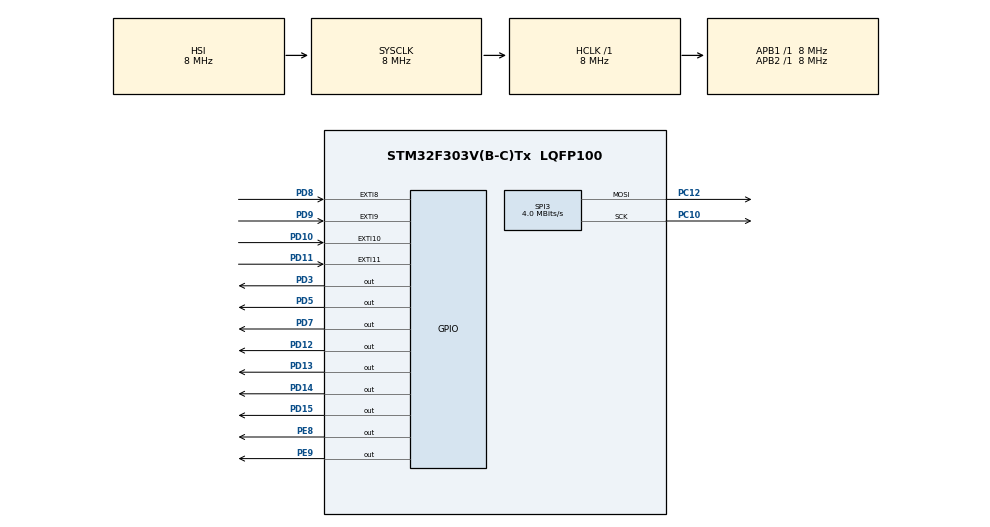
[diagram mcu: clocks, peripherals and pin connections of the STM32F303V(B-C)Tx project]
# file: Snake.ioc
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Mcu.Family=STM32F3
Mcu.Name=STM32F303V(B-C)Tx
Mcu.Package=LQFP100
NVIC.EXTI15_10_IRQn=true\:1\:0\:true\:false\:true\:true\:true
NVIC.EXTI9_5_IRQn=true\:1\:0\:true\:false\:true\:true\:true
NVIC.PriorityGroup=NVIC_PRIORITYGROUP_4
NVIC.TIM1_UP_TIM16_IRQn=true\:0\:0\:true\:false\:true\:true\:true
PC10.Mode=TX_Only_Simplex_Unidirect_Master
PC10.Signal=SPI3_SCK
PC12.Mode=TX_Only_Simplex_Unidirect_Master
PC12.Signal=SPI3_MOSI
PD10.GPIO_PuPd=GPIO_PULLDOWN
PD10.Signal=GPXTI10
PD11.GPIO_PuPd=GPIO_PULLDOWN
PD11.Signal=GPXTI11
PD12.PinState=GPIO_PIN_SET
PD12.Signal=GPIO_Output
PD13.PinState=GPIO_PIN_SET
PD13.Signal=GPIO_Output
PD14.PinState=GPIO_PIN_SET
PD14.Signal=GPIO_Output
PD15.PinState=GPIO_PIN_SET
PD15.Signal=GPIO_Output
PD3.Signal=GPIO_Output
PD5.Signal=GPIO_Output
PD7.Signal=GPIO_Output
PD8.GPIO_PuPd=GPIO_PULLDOWN
PD8.Signal=GPXTI8
PD9.GPIO_PuPd=GPIO_PULLDOWN
PD9.Signal=GPXTI9
PE8.Signal=GPIO_Output
PE9.Signal=GPIO_Output
ProjectManager.HeapSize=0x200
ProjectManager.StackSize=0x400
ProjectManager.TargetToolchain=STM32CubeIDE
RCC.AHBFreq_Value=8000000
RCC.APB1Freq_Value=8000000
RCC.APB2Freq_Value=8000000
RCC.CortexFreq_Value=8000000
RCC.HSE_VALUE=8000000
RCC.HSI_VALUE=8000000
RCC.LSE_VALUE=32768
RCC.SYSCLKFreq_VALUE=8000000
SPI3.CalculateBaudRate=4.0 MBits/s
SPI3.DataSize=SPI_DATASIZE_8BIT
SPI3.Direction=SPI_DIRECTION_2LINES
SPI3.Mode=SPI_MODE_MASTER
SPI3.VirtualType=VM_MASTER
TIM1.Period=11999
TIM1.Prescaler=999
VP_TIM1_VS_ClockSourceINT.Mode=Internal
board=custom

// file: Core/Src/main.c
/* USER CODE BEGIN Header */
/**
 * Snake game by Alireza Tabatabaee, 2022. https://github.com/alireza-tabatabaee
  ******************************************************************************
  * @file           : main.c
  * @brief          : Main program body
  ******************************************************************************
  * @attention
  *
  * <h2><center>&copy; Copyright (c) 2022 STMicroelectronics.
  * All rights reserved.</center></h2>
  *
  * This software component is licensed by ST under BSD 3-Clause license,
  * the "License"; You may not use this file except in compliance with the
  * License. You may obtain a copy of the License at:
  *                        opensource.org/licenses/BSD-3-Clause
  *
  ******************************************************************************
  */
/* USER CODE END Header */
#include "main.h"

/* USER CODE BEGIN Includes */
#include "stm32f4_pcd8544.h"
/* USER CODE END Includes */

/* USER CODE BEGIN PD */
#define	UP		1
#define LEFT	2
#define RIGHT	3
#define DOWN	4
#define FOOD	5
/* USER CODE END PD */

SPI_HandleTypeDef hspi3;

TIM_HandleTypeDef htim1;

/* USER CODE BEGIN PV */
uint8_t grid[21][12];	// game grid
int8_t hx, hy;			// x and y of head
uint8_t tx, ty;			// x and y of tail
int8_t dx, dy;			// direction of snake's movement
/* USER CODE END PV */

void SystemClock_Config(void);
static void MX_GPIO_Init(void);
static void MX_SPI3_Init(void);
static void MX_TIM1_Init(void);

/* USER CODE BEGIN 0 */
uint16_t lfsr;
uint16_t lfsrrand()
{
	lfsr ^= lfsr>>7;
	lfsr ^= lfsr<<9;
	lfsr ^= lfsr>>13;
	return lfsr;
}
_Bool foodflag = 0;
void newGameStart(void)
{
	// clean out the game grid
	for(int i=0; i<21; i++)
	{
		for(int j=0; j<12; j++)
			grid[i][j] = 0;
	}
	// putting the snake with length 3 between (4,6) and (6,6)
	grid[4][6] = RIGHT;
	grid[5][6] = RIGHT;
	grid[6][6] = RIGHT;
	// (6,6) is the initial position for snake's head
	hx = 6;
	hy = 6;
	// (4,6) is the initial position for snake's tail
	tx = 4;
	ty = 6;
	// initial moving direction of snake is towards right
	dx = 1;
	dy = 0;
	// giving the LFSR pseudo-random number generator a seed from the timer
	lfsr = TIM1->CNT;
	//
	foodflag = 0;
}

uint8_t checkSnakeCrash(void)
{
	return ((hx+dx)==-1||(hx+dx)==21||(hy+dy)==12||((hy+dy)==-1))||(grid[hx+dx][hy+dy] > 0 && grid[hx+dx][hy+dy]<5);
}

void updateLCD(void)
{
	for(int i=0; i<21; i++)
	{
		for(int j=0; j<12; j++)
		{
			if (grid[i][j] == 0)
			{
				for(int k=0; k<4; k++)
				{
					for(int l=0; l<4; l++)
						PCD8544_DrawPixel(4*i+k, 4*j+l, 0);
				}
			}
			else if(grid[i][j] >0 && grid[i][j]<5)
			{
				for(int k=0; k<4; k++)
				{
					for(int l=0; l<4; l++)
						PCD8544_DrawPixel(4*i+k, 4*j+l, 1);
				}
			}
			else if(grid[i][j] == 5)
			{
				PCD8544_DrawPixel(4*i+1, 4*j, 1);
				PCD8544_DrawPixel(4*i+2, 4*j, 1);
				PCD8544_DrawPixel(4*i+1, 4*j+3, 1);
				PCD8544_DrawPixel(4*i+2, 4*j+3, 1);
				PCD8544_DrawPixel(4*i, 4*j+1, 1);
				PCD8544_DrawPixel(4*i, 4*j+2, 1);
				PCD8544_DrawPixel(4*i+3, 4*j+1, 1);
				PCD8544_DrawPixel(4*i+3, 4*j+2, 1);
			}
		}
	}
	// drawing borders on LCD to make it clearer
	PCD8544_DrawLine(0, 0, 0, 47, PCD8544_Pixel_Set);
	PCD8544_DrawLine(83, 0, 83, 47, PCD8544_Pixel_Set);
	PCD8544_DrawLine(0, 0, 83, 0, PCD8544_Pixel_Set);
	PCD8544_DrawLine(0, 47, 83, 47, PCD8544_Pixel_Set);

	PCD8544_Refresh();
}

void loseDialog()
{
	PCD8544_GotoXY(20, 20);
	PCD8544_Puts("You Lose!", PCD8544_Pixel_Set, PCD8544_FontSize_5x7);
	PCD8544_Refresh();
	HAL_TIM_Base_Stop_IT(&htim1);
}

char keyPressed = 0;
void HAL_GPIO_EXTI_Callback(uint16_t GPIO_Pin)
{
	if(GPIO_Pin==GPIO_PIN_8) //A,B,C,D
	{
		HAL_GPIO_WritePin(GPIOD, GPIO_PIN_12, 1);
		HAL_GPIO_WritePin(GPIOD, GPIO_PIN_13, 0);
		HAL_GPIO_WritePin(GPIOD, GPIO_PIN_14, 0);
		HAL_GPIO_WritePin(GPIOD, GPIO_PIN_15, 0);
		if(HAL_GPIO_ReadPin(GPIOD, GPIO_Pin)==1){
			GPIOD->ODR |= (0xF << 12);
			keyPressed = 'D';
			HAL_Delay(100);
			return;
		}
		//
		HAL_GPIO_WritePin(GPIOD, GPIO_PIN_12, 0);
		HAL_GPIO_WritePin(GPIOD, GPIO_PIN_13, 1);
		HAL_GPIO_WritePin(GPIOD, GPIO_PIN_14, 0);
		HAL_GPIO_WritePin(GPIOD, GPIO_PIN_15, 0);
		if(HAL_GPIO_ReadPin(GPIOD, GPIO_Pin)==1){
			GPIOD->ODR |= (0xF << 12);
			keyPressed = 'C';
			HAL_Delay(100);
			return;
		}
		//
		HAL_GPIO_WritePin(GPIOD, GPIO_PIN_12, 0);
		HAL_GPIO_WritePin(GPIOD, GPIO_PIN_13, 0);
		HAL_GPIO_WritePin(GPIOD, GPIO_PIN_14, 1);
		HAL_GPIO_WritePin(GPIOD, GPIO_PIN_15, 0);
		if(HAL_GPIO_ReadPin(GPIOD, GPIO_Pin)==1){
			GPIOD->ODR |= (0xF << 12);
			keyPressed = 'B';
			HAL_Delay(100);
			return;
		}
		//
		HAL_GPIO_WritePin(GPIOD, GPIO_PIN_12, 0);
		HAL_GPIO_WritePin(GPIOD, GPIO_PIN_13, 0);
		HAL_GPIO_WritePin(GPIOD, GPIO_PIN_14, 0);
		HAL_GPIO_WritePin(GPIOD, GPIO_PIN_15, 1);
		if(HAL_GPIO_ReadPin(GPIOD, GPIO_Pin)==1){
			GPIOD->ODR |= (0xF << 12);
			keyPressed = 'A';
			HAL_Delay(100);
			return;
		}
	}
	else if(GPIO_Pin==GPIO_PIN_9) //3,6,9,#
	{
		HAL_GPIO_WritePin(GPIOD, GPIO_PIN_12, 1);
		HAL_GPIO_WritePin(GPIOD, GPIO_PIN_13, 0);
		HAL_GPIO_WritePin(GPIOD, GPIO_PIN_14, 0);
		HAL_GPIO_WritePin(GPIOD, GPIO_PIN_15, 0);
		if(HAL_GPIO_ReadPin(GPIOD, GPIO_Pin)==1){
			GPIOD->ODR |= (0xF << 12);
			keyPressed = '#';
			HAL_Delay(100);
			return;
		}
		//
		HAL_GPIO_WritePin(GPIOD, GPIO_PIN_12, 0);
		HAL_GPIO_WritePin(GPIOD, GPIO_PIN_13, 1);
		HAL_GPIO_WritePin(GPIOD, GPIO_PIN_14, 0);
		HAL_GPIO_WritePin(GPIOD, GPIO_PIN_15, 0);
		if(HAL_GPIO_ReadPin(GPIOD, GPIO_Pin)==1){
			GPIOD->ODR |= (0xF << 12);
			keyPressed = '9';
			HAL_Delay(100);
			return;
		}
		//
		HAL_GPIO_WritePin(GPIOD, GPIO_PIN_12, 0);
		HAL_GPIO_WritePin(GPIOD, GPIO_PIN_13, 0);
		HAL_GPIO_WritePin(GPIOD, GPIO_PIN_14, 1);
		HAL_GPIO_WritePin(GPIOD, GPIO_PIN_15, 0);
		if(HAL_GPIO_ReadPin(GPIOD, GPIO_Pin)==1){
			GPIOD->ODR |= (0xF << 12);
			keyPressed = '6';
			HAL_Delay(100);
			return;
		}
		//
		HAL_GPIO_WritePin(GPIOD, GPIO_PIN_12, 0);
		HAL_GPIO_WritePin(GPIOD, GPIO_PIN_13, 0);
		HAL_GPIO_WritePin(GPIOD, GPIO_PIN_14, 0);
		HAL_GPIO_WritePin(GPIOD, GPIO_PIN_15, 1);
		if(HAL_GPIO_ReadPin(GPIOD, GPIO_Pin)==1){
			GPIOD->ODR |= (0xF << 12);
			keyPressed = '3';
			HAL_Delay(100);
			return;
		}
	}
	else if(GPIO_Pin==GPIO_PIN_10) //2,5,8,0
	{
		HAL_GPIO_WritePin(GPIOD, GPIO_PIN_12, 1);
		HAL_GPIO_WritePin(GPIOD, GPIO_PIN_13, 0);
		HAL_GPIO_WritePin(GPIOD, GPIO_PIN_14, 0);
		HAL_GPIO_WritePin(GPIOD, GPIO_PIN_15, 0);
		if(HAL_GPIO_ReadPin(GPIOD, GPIO_Pin)==1){
			GPIOD->ODR |= (0xF << 12);
			keyPressed = '0';
			HAL_Delay(100);
			return;
		}
		//
		HAL_GPIO_WritePin(GPIOD, GPIO_PIN_12, 0);
		HAL_GPIO_WritePin(GPIOD, GPIO_PIN_13, 1);
		HAL_GPIO_WritePin(GPIOD, GPIO_PIN_14, 0);
		HAL_GPIO_WritePin(GPIOD, GPIO_PIN_15, 0);
		if(HAL_GPIO_ReadPin(GPIOD, GPIO_Pin)==1){
			GPIOD->ODR |= (0xF << 12);
			keyPressed = '8';
			HAL_Delay(100);
			return;
		}
		//
		HAL_GPIO_WritePin(GPIOD, GPIO_PIN_12, 0);
		HAL_GPIO_WritePin(GPIOD, GPIO_PIN_13, 0);
		HAL_GPIO_WritePin(GPIOD, GPIO_PIN_14, 1);
		HAL_GPIO_WritePin(GPIOD, GPIO_PIN_15, 0);
		if(HAL_GPIO_ReadPin(GPIOD, GPIO_Pin)==1){
			GPIOD->ODR |= (0xF << 12);
			keyPressed = '5';
			HAL_Delay(100);
			return;
		}
		//
		HAL_GPIO_WritePin(GPIOD, GPIO_PIN_12, 0);
		HAL_GPIO_WritePin(GPIOD, GPIO_PIN_13, 0);
		HAL_GPIO_WritePin(GPIOD, GPIO_PIN_14, 0);
		HAL_GPIO_WritePin(GPIOD, GPIO_PIN_15, 1);
		if(HAL_GPIO_ReadPin(GPIOD, GPIO_Pin)==1){
			GPIOD->ODR |= (0xF << 12);
			keyPressed = '2';
			HAL_Delay(100);
			return;
		}
	}
	else if(GPIO_Pin==GPIO_PIN_11) //1,4,7,*
	{
		HAL_GPIO_WritePin(GPIOD, GPIO_PIN_12, 1);
		HAL_GPIO_WritePin(GPIOD, GPIO_PIN_13, 0);
		HAL_GPIO_WritePin(GPIOD, GPIO_PIN_14, 0);
		HAL_GPIO_WritePin(GPIOD, GPIO_PIN_15, 0);
		if(HAL_GPIO_ReadPin(GPIOD, GPIO_Pin)==1){
			GPIOD->ODR |= (0xF << 12);
			keyPressed = '*';
			HAL_Delay(100);
			return;
		}
		//
		HAL_GPIO_WritePin(GPIOD, GPIO_PIN_12, 0);
		HAL_GPIO_WritePin(GPIOD, GPIO_PIN_13, 1);
		HAL_GPIO_WritePin(GPIOD, GPIO_PIN_14, 0);
		HAL_GPIO_WritePin(GPIOD, GPIO_PIN_15, 0);
		if(HAL_GPIO_ReadPin(GPIOD, GPIO_Pin)==1){
			GPIOD->ODR |= (0xF << 12);
			keyPressed = '7';
			HAL_Delay(100);
			return;
		}
		//
		HAL_GPIO_WritePin(GPIOD, GPIO_PIN_12, 0);
		HAL_GPIO_WritePin(GPIOD, GPIO_PIN_13, 0);
		HAL_GPIO_WritePin(GPIOD, GPIO_PIN_14, 1);
		HAL_GPIO_WritePin(GPIOD, GPIO_PIN_15, 0);
		if(HAL_GPIO_ReadPin(GPIOD, GPIO_Pin)==1){
			GPIOD->ODR |= (0xF << 12);
			keyPressed = '4';
			HAL_Delay(100);
			return;
		}
		//
		HAL_GPIO_WritePin(GPIOD, GPIO_PIN_12, 0);
		HAL_GPIO_WritePin(GPIOD, GPIO_PIN_13, 0);
		HAL_GPIO_WritePin(GPIOD, GPIO_PIN_14, 0);
		HAL_GPIO_WritePin(GPIOD, GPIO_PIN_15, 1);
		if(HAL_GPIO_ReadPin(GPIOD, GPIO_Pin)==1){
			GPIOD->ODR |= (0xF << 12);
			keyPressed = '1';
			HAL_Delay(100);
			return;
		}
	}
	GPIOD->ODR |= (0xF << 12);
}

void HAL_TIM_PeriodElapsedCallback(TIM_HandleTypeDef *htim)
{
  //HAL_GPIO_TogglePin(GPIOE, GPIO_PIN_8);
  if(keyPressed == '2' && dy!=1)
  {
	  dx = 0, dy = -1;
	  grid[hx][hy] = UP;
	  keyPressed = 0;	//clean the key flag so it wouldn't be registered twice during the next iteration
  }
  else if(keyPressed == '4' && dx!=1)
  {
	  dx = -1, dy = 0;
	  grid[hx][hy] = LEFT;
	  keyPressed = 0;
  }
  else if(keyPressed == '6' && dx!=-1)
  {
	  dx = 1, dy = 0;
	  grid[hx][hy] = RIGHT;
	  keyPressed = 0;
  }
  else if(keyPressed == '8' && dy!=-1)
  {
	  dx = 0, dy = 1;
	  grid[hx][hy] = DOWN;
	  keyPressed = 0;
  }

  if( checkSnakeCrash() )
	  loseDialog();
  else
  {
	  uint8_t temp = grid[tx][ty];

	  if(grid[hx+dx][hy+dy] != FOOD) {
		  // clean the former tail if no food was eaten
		  grid[tx][ty] = 0;
		  // update the location of the tail
		  if(temp==UP)
			  ty--;
		  else if(temp==LEFT)
			  tx--;
		  else if(temp==RIGHT)
			  tx++;
		  else if(temp==DOWN)
			  ty++;
	  }
	  else
		  foodflag = 0;

	  // advance snake's head for one cell
	  temp = grid[hx][hy];
	  hx += dx;
	  hy += dy;
	  grid[hx][hy] = temp;
  //}

	  if(!foodflag)
	  {
		  uint8_t foodx, foody;
		  do
		  {
			  foodx = lfsrrand() % 21;
			  foody = lfsrrand() % 12;
		  }
		  while(grid[foodx][foody] != 0);
		  grid[foodx][foody] = FOOD;
		  foodflag = 1;
	  }

	  updateLCD();	//finally, show the results on LCD
  }
}
/* USER CODE END 0 */

int main(void)
{

  /* MCU Configuration--------------------------------------------------------*/

  /* Reset of all peripherals, Initializes the Flash interface and the Systick. */
  HAL_Init();

  /* Configure the system clock */
  SystemClock_Config();

  /* Initialize all configured peripherals */
  MX_GPIO_Init();
  MX_SPI3_Init();
  MX_TIM1_Init();

  /* Infinite loop */
  /* USER CODE BEGIN WHILE */
  HAL_TIM_Base_Start_IT(&htim1);
  PCD8544_Init(0x38);
  newGameStart();
  //PCD8544_Puts("Hello World!", PCD8544_Pixel_Set, PCD8544_FontSize_5x7);
  //PCD8544_Refresh();
  while (1)
  {
    /* USER CODE END WHILE */

  }
}

void SystemClock_Config(void)
{
  RCC_OscInitTypeDef RCC_OscInitStruct = {0};
  RCC_ClkInitTypeDef RCC_ClkInitStruct = {0};
  RCC_PeriphCLKInitTypeDef PeriphClkInit = {0};

  /** Initializes the RCC Oscillators according to the specified parameters
  * in the RCC_OscInitTypeDef structure.
  */
  RCC_OscInitStruct.OscillatorType = RCC_OSCILLATORTYPE_HSI;
  RCC_OscInitStruct.HSIState = RCC_HSI_ON;
  RCC_OscInitStruct.HSICalibrationValue = RCC_HSICALIBRATION_DEFAULT;
  RCC_OscInitStruct.PLL.PLLState = RCC_PLL_NONE;
  if (HAL_RCC_OscConfig(&RCC_OscInitStruct) != HAL_OK)
  {
    Error_Handler();
  }
  /** Initializes the CPU, AHB and APB buses clocks
  */
  RCC_ClkInitStruct.ClockType = RCC_CLOCKTYPE_HCLK|RCC_CLOCKTYPE_SYSCLK
                              |RCC_CLOCKTYPE_PCLK1|RCC_CLOCKTYPE_PCLK2;
  RCC_ClkInitStruct.SYSCLKSource = RCC_SYSCLKSOURCE_HSI;
  RCC_ClkInitStruct.AHBCLKDivider = RCC_SYSCLK_DIV1;
  RCC_ClkInitStruct.APB1CLKDivider = RCC_HCLK_DIV1;
  RCC_ClkInitStruct.APB2CLKDivider = RCC_HCLK_DIV1;

  if (HAL_RCC_ClockConfig(&RCC_ClkInitStruct, FLASH_LATENCY_0) != HAL_OK)
  {
    Error_Handler();
  }
  PeriphClkInit.PeriphClockSelection = RCC_PERIPHCLK_TIM1;
  PeriphClkInit.Tim1ClockSelection = RCC_TIM1CLK_HCLK;
  if (HAL_RCCEx_PeriphCLKConfig(&PeriphClkInit) != HAL_OK)
  {
    Error_Handler();
  }
}

static void MX_SPI3_Init(void)
{

  /* SPI3 parameter configuration*/
  hspi3.Instance = SPI3;
  hspi3.Init.Mode = SPI_MODE_MASTER;
  hspi3.Init.Direction = SPI_DIRECTION_2LINES;
  hspi3.Init.DataSize = SPI_DATASIZE_8BIT;
  hspi3.Init.CLKPolarity = SPI_POLARITY_LOW;
  hspi3.Init.CLKPhase = SPI_PHASE_1EDGE;
  hspi3.Init.NSS = SPI_NSS_SOFT;
  hspi3.Init.BaudRatePrescaler = SPI_BAUDRATEPRESCALER_2;
  hspi3.Init.FirstBit = SPI_FIRSTBIT_MSB;
  hspi3.Init.TIMode = SPI_TIMODE_DISABLE;
  hspi3.Init.CRCCalculation = SPI_CRCCALCULATION_DISABLE;
  hspi3.Init.CRCPolynomial = 7;
  hspi3.Init.CRCLength = SPI_CRC_LENGTH_DATASIZE;
  hspi3.Init.NSSPMode = SPI_NSS_PULSE_ENABLE;
  if (HAL_SPI_Init(&hspi3) != HAL_OK)
  {
    Error_Handler();
  }

}

static void MX_TIM1_Init(void)
{

  TIM_ClockConfigTypeDef sClockSourceConfig = {0};
  TIM_MasterConfigTypeDef sMasterConfig = {0};

  htim1.Instance = TIM1;
  htim1.Init.Prescaler = 999;
  htim1.Init.CounterMode = TIM_COUNTERMODE_UP;
  htim1.Init.Period = 5999;
  htim1.Init.ClockDivision = TIM_CLOCKDIVISION_DIV1;
  htim1.Init.RepetitionCounter = 0;
  htim1.Init.AutoReloadPreload = TIM_AUTORELOAD_PRELOAD_DISABLE;
  if (HAL_TIM_Base_Init(&htim1) != HAL_OK)
  {
    Error_Handler();
  }
  sClockSourceConfig.ClockSource = TIM_CLOCKSOURCE_INTERNAL;
  if (HAL_TIM_ConfigClockSource(&htim1, &sClockSourceConfig) != HAL_OK)
  {
    Error_Handler();
  }
  sMasterConfig.MasterOutputTrigger = TIM_TRGO_RESET;
  sMasterConfig.MasterOutputTrigger2 = TIM_TRGO2_RESET;
  sMasterConfig.MasterSlaveMode = TIM_MASTERSLAVEMODE_DISABLE;
  if (HAL_TIMEx_MasterConfigSynchronization(&htim1, &sMasterConfig) != HAL_OK)
  {
    Error_Handler();
  }

}

static void MX_GPIO_Init(void)
{
  GPIO_InitTypeDef GPIO_InitStruct = {0};

  /* GPIO Ports Clock Enable */
  __HAL_RCC_GPIOE_CLK_ENABLE();
  __HAL_RCC_GPIOD_CLK_ENABLE();
  __HAL_RCC_GPIOC_CLK_ENABLE();

  /*Configure GPIO pin Output Level */
  HAL_GPIO_WritePin(GPIOE, GPIO_PIN_8|GPIO_PIN_9, GPIO_PIN_RESET);

  /*Configure GPIO pin Output Level */
  HAL_GPIO_WritePin(GPIOD, GPIO_PIN_12|GPIO_PIN_13|GPIO_PIN_14|GPIO_PIN_15, GPIO_PIN_SET);

  /*Configure GPIO pin Output Level */
  HAL_GPIO_WritePin(GPIOD, GPIO_PIN_3|GPIO_PIN_5|GPIO_PIN_7, GPIO_PIN_RESET);

  /*Configure GPIO pins : PE8 PE9 */
  GPIO_InitStruct.Pin = GPIO_PIN_8|GPIO_PIN_9;
  GPIO_InitStruct.Mode = GPIO_MODE_OUTPUT_PP;
  GPIO_InitStruct.Pull = GPIO_NOPULL;
  GPIO_InitStruct.Speed = GPIO_SPEED_FREQ_LOW;
  HAL_GPIO_Init(GPIOE, &GPIO_InitStruct);

  /*Configure GPIO pins : PD8 PD9 PD10 PD11 */
  GPIO_InitStruct.Pin = GPIO_PIN_8|GPIO_PIN_9|GPIO_PIN_10|GPIO_PIN_11;
  GPIO_InitStruct.Mode = GPIO_MODE_IT_RISING;
  GPIO_InitStruct.Pull = GPIO_PULLDOWN;
  HAL_GPIO_Init(GPIOD, &GPIO_InitStruct);

  /*Configure GPIO pins : PD12 PD13 PD14 PD15
                           PD3 PD5 PD7 */
  GPIO_InitStruct.Pin = GPIO_PIN_12|GPIO_PIN_13|GPIO_PIN_14|GPIO_PIN_15
                          |GPIO_PIN_3|GPIO_PIN_5|GPIO_PIN_7;
  GPIO_InitStruct.Mode = GPIO_MODE_OUTPUT_PP;
  GPIO_InitStruct.Pull = GPIO_NOPULL;
  GPIO_InitStruct.Speed = GPIO_SPEED_FREQ_LOW;
  HAL_GPIO_Init(GPIOD, &GPIO_InitStruct);

  /* EXTI interrupt init*/
  HAL_NVIC_SetPriority(EXTI9_5_IRQn, 1, 0);
  HAL_NVIC_EnableIRQ(EXTI9_5_IRQn);

  HAL_NVIC_SetPriority(EXTI15_10_IRQn, 1, 0);
  HAL_NVIC_EnableIRQ(EXTI15_10_IRQn);

}

void Error_Handler(void)
{
  __disable_irq();
  while (1)
  {
  }
}

/************************ (C) COPYRIGHT STMicroelectronics *****END OF FILE****/
